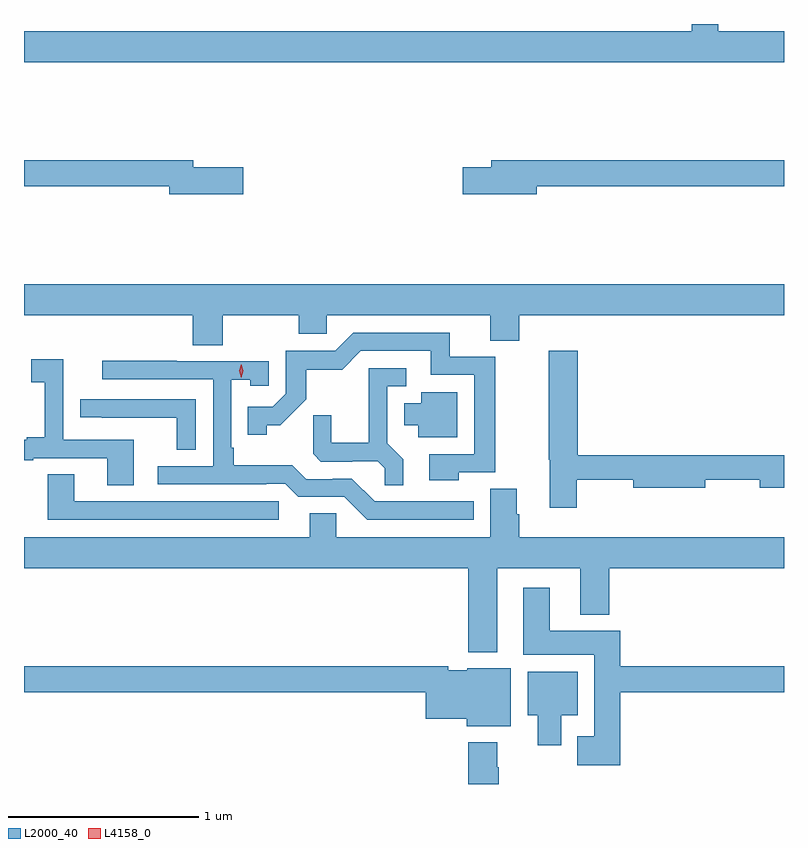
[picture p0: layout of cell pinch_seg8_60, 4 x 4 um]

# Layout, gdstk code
import gdstk
lib = gdstk.Library(unit=1e-6, precision=1e-09)
def P(c, l, *ps):  # polygons
    for p in ps: c.add(gdstk.Polygon(p, *l))
L2000_40 = (2000, 40)
L4158_0 = (4158, 0)

pinch_seg8_60 = lib.new_cell('pinch_seg8_60')
P(pinch_seg8_60, L2000_40, [(903.622,1121.992),(903.277,1121.992),(903.277,1122.029),(903.137,1122.029),(903.137,1121.992),(899.622,1121.992),(899.622,1121.828),(903.622,1121.828)],
  [(900.775,1121.276),(900.514,1121.276),(900.514,1121.312),(899.622,1121.312),(899.622,1121.176),(900.386,1121.176),(900.386,1121.134),(900.775,1121.134)],
  [(902.32,1121.176),(903.622,1121.176),(903.622,1121.312),(902.081,1121.312),(902.081,1121.276),(901.932,1121.276),(901.932,1121.134),(902.32,1121.134)],
  [(900.669,1120.496),(901.069,1120.496),(901.069,1120.398),(901.215,1120.398),(901.215,1120.496),(902.075,1120.496),(902.075,1120.363),(902.228,1120.363),(902.228,1120.496),(903.622,1120.496),(903.622,1120.66),(899.622,1120.66),(899.622,1120.496),(900.509,1120.496),(900.509,1120.339),(900.669,1120.339)],
  [(901.911,1119.669),(902.101,1119.669),(902.101,1120.278),(901.862,1120.278),(901.862,1120.404),(901.356,1120.404),(901.26,1120.308),(900.999,1120.308),(900.999,1120.083),(900.93,1120.014),(900.799,1120.014),(900.799,1119.867),(900.9,1119.867),(900.9,1119.917),(900.97,1119.917),(901.108,1120.054),(901.108,1120.21),(901.297,1120.21),(901.395,1120.308),(901.763,1120.308),(901.763,1120.182),(901.992,1120.182),(901.992,1119.765),(901.755,1119.765),(901.755,1119.629),(901.911,1119.629)],
  [(902.532,1119.63),(902.828,1119.63),(902.828,1119.587),(903.208,1119.587),(903.208,1119.63),(903.494,1119.63),(903.494,1119.587),(903.622,1119.587),(903.622,1119.758),(902.537,1119.758),(902.537,1120.309),(902.383,1120.309),(902.383,1119.735),(902.39,1119.735),(902.39,1119.483),(902.532,1119.483)],
  [(900.199,1119.84),(899.829,1119.84),(899.829,1120.264),(899.661,1120.264),(899.661,1120.144),(899.732,1120.144),(899.732,1119.853),(899.636,1119.853),(899.636,1119.84),(899.622,1119.84),(899.622,1119.732),(899.671,1119.732),(899.671,1119.744),(900.059,1119.744),(900.059,1119.601),(900.199,1119.601)],
  [(901.99,1119.516),(901.467,1119.516),(901.347,1119.636),(901.246,1119.636),(901.246,1119.633),(901.107,1119.633),(901.034,1119.706),(900.727,1119.706),(900.727,1119.799),(900.714,1119.799),(900.714,1120.157),(900.813,1120.157),(900.813,1120.125),(900.909,1120.125),(900.909,1120.254),(900.425,1120.254),(900.425,1120.257),(900.033,1120.257),(900.033,1120.158),(900.618,1120.158),(900.618,1119.702),(900.327,1119.702),(900.327,1119.606),(900.896,1119.606),(900.896,1119.609),(900.996,1119.609),(901.065,1119.54),(901.308,1119.54),(901.428,1119.42),(901.99,1119.42)],
  [(901.619,1119.737),(901.533,1119.823),(901.533,1120.122),(901.633,1120.122),(901.633,1120.218),(901.436,1120.218),(901.436,1119.826),(901.238,1119.826),(901.238,1119.969),(901.144,1119.969),(901.144,1119.767),(901.185,1119.726),(901.35,1119.726),(901.35,1119.729),(901.484,1119.729),(901.521,1119.692),(901.521,1119.601),(901.619,1119.601)],
  [(901.903,1120.09),(901.712,1120.09),(901.712,1120.033),(901.622,1120.033),(901.622,1119.917),(901.697,1119.917),(901.697,1119.854),(901.903,1119.854)],
  [(900.525,1120.053),(899.919,1120.053),(899.919,1119.958),(900.031,1119.958),(900.031,1119.957),(900.427,1119.957),(900.427,1119.787),(900.525,1119.787)],
  [(900.964,1119.516),(899.887,1119.516),(899.887,1119.659),(899.747,1119.659),(899.747,1119.42),(900.964,1119.42)],
  [(902.113,1119.164),(902.549,1119.164),(902.549,1118.921),(902.702,1118.921),(902.702,1119.164),(903.622,1119.164),(903.622,1119.328),(902.228,1119.328),(902.228,1119.45),(902.215,1119.45),(902.215,1119.584),(902.075,1119.584),(902.075,1119.328),(901.266,1119.328),(901.266,1119.455),(901.127,1119.455),(901.127,1119.328),(899.622,1119.328),(899.622,1119.164),(901.961,1119.164),(901.961,1118.723),(902.113,1118.723)],
  [(902.759,1118.512),(903.622,1118.512),(903.622,1118.648),(902.759,1118.648),(902.759,1118.836),(902.389,1118.836),(902.389,1119.061),(902.249,1119.061),(902.249,1118.708),(902.624,1118.708),(902.624,1118.281),(902.534,1118.281),(902.534,1118.129),(902.759,1118.129)],
  [(902.185,1118.638),(901.956,1118.638),(901.956,1118.629),(901.856,1118.629),(901.856,1118.648),(899.622,1118.648),(899.622,1118.512),(901.736,1118.512),(901.736,1118.372),(901.952,1118.372),(901.952,1118.333),(902.185,1118.333)],
  [(902.449,1118.39),(902.536,1118.39),(902.536,1118.62),(902.273,1118.62),(902.273,1118.39),(902.327,1118.39),(902.327,1118.232),(902.449,1118.232)],
  [(902.121,1118.117),(902.113,1118.117),(902.113,1118.248),(901.961,1118.248),(901.961,1118.029),(902.121,1118.029)])
P(pinch_seg8_60, L4158_0, [(900.766,1120.166),(900.766,1120.167),(900.756,1120.203),(900.766,1120.239),(900.766,1120.239),(900.766,1120.239),(900.776,1120.203),(900.766,1120.167)])

lib.write_gds('pinch_seg8_60.gds')
